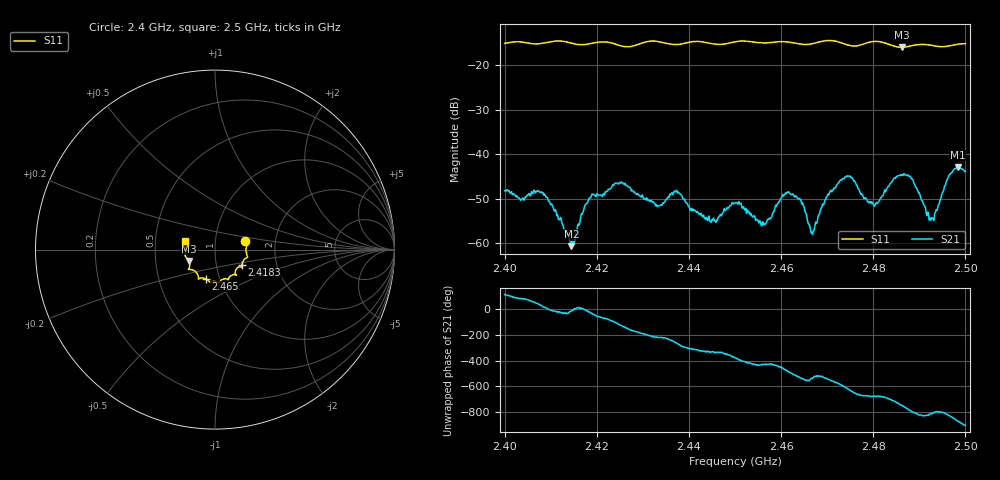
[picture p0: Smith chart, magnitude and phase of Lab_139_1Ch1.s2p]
# Hz S RI R 50
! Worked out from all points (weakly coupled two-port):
!   601 points, 2.4 GHz to 2.5 GHz, reference 50 ohm
!   highest |S21| = -42.87 dB at 2.4983 GHz (marker M1); lowest = -60.6 dB at 2.4145 GHz (marker M2)
!   lowest |S11| = -16.0 dB at 2.4862 GHz (marker M3), VSWR 1.38, Z = 37.1 - j4.82 ohm
!   |S11| at or under -10 dB: start of sweep to end of sweep
!   S12 and S22 are empty: the file has one direction only
!   S11 on the Smith chart (normalised r, x): 2.4 GHz: 1.40, +0.13; 2.4183 GHz: 1.33, -0.24; 2.465 GHz: 0.86, -0.29; 2.5 GHz: 0.71, +0.07
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2.4e9  0.1692 0.0457  -0.00158 0.00358  0 0  0 0
2.408333e9  0.1751 -0.0197  0.00352 0.00118  0 0  0 0
2.4145e9  0.1692 -0.0497  0.000909 -0.000211  0 0  0 0
2.416667e9  0.1549 -0.0684  0.00215 0.000225  0 0  0 0
2.418333e9  0.1498 -0.0868  0.00304 -0.00104  0 0  0 0
2.425333e9  0.1313 -0.0976  -0.00305 -0.00383  0 0  0 0
2.433333e9  0.1169 -0.1414  -0.002 0.00172  0 0  0 0
2.437333e9  0.087 -0.1462  -0.000446 0.00392  0 0  0 0
2.445333e9  0.0592 -0.1621  0.00168 0.000947  0 0  0 0
2.45e9  0.0252 -0.1808  0.00272 -0.000804  0 0  0 0
2.456167e9  -0.00239 -0.1771  0.000607 -0.00152  0 0  0 0
2.461167e9  -0.0303 -0.1796  -0.00162 -0.00324  0 0  0 0
2.465e9  -0.0526 -0.1622  -0.00255 0.000263  0 0  0 0
2.466667e9  -0.0712 -0.1577  -0.00133 -9e-05  0 0  0 0
2.473833e9  -0.0947 -0.1439  -0.00248 0.00495  0 0  0 0
2.48e9  -0.147 -0.1104  0.00196 0.00195  0 0  0 0
2.483333e9  -0.1421 -0.096  0.00398 0.00181  0 0  0 0
2.486167e9  -0.1447 -0.0634  0.00519 -0.00255  0 0  0 0
2.488333e9  -0.1591 -0.0444  0.00153 -0.00506  0 0  0 0
2.492667e9  -0.1651 -0.0223  -0.000129 -0.00194  0 0  0 0
2.498333e9  -0.1672 0.038  -0.00613 -0.00375  0 0  0 0
2.5e9  -0.167 0.0472  -0.00642 0.000363  0 0  0 0
